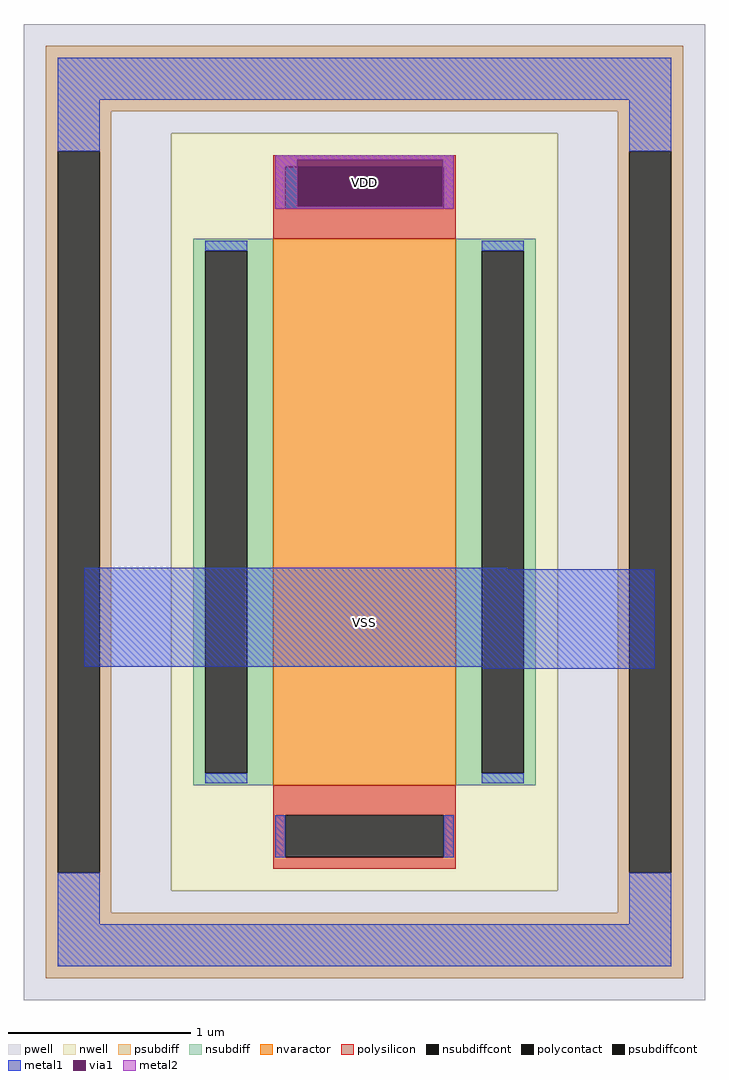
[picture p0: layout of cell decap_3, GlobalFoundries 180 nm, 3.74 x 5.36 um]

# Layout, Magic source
magic
tech gf180mcuD
magscale 1 10
<< nwell >>
rect 1251 813 1411 865
<< polysilicon >>
rect 1251 813 1411 865
<< metal1 >>
rect 1227 865 1423 870
rect 1227 813 1251 865
rect 1411 813 1423 865
rect 1227 811 1423 813
rect 1017 415 1482 417
rect 1017 308 1644 415
rect 1455 306 1644 308
<< via1 >>
rect 1251 813 1411 865
<< metal2 >>
rect 1227 865 1423 870
rect 1227 813 1251 865
rect 1411 813 1423 865
rect 1227 811 1423 813
use nmoscap_3p3_SJ3AWP  nmoscap_3p3_SJ3AWP_0
transform 1 0 1325 0 1 478
box -374 -536 374 536
<< labels >>
flabel metal2 1231 812 1418 867 0 FreeSans 320 0 0 0 VDD
port 1 nsew
flabel metal1 1231 321 1419 392 0 FreeSans 320 0 0 0 VSS
port 2 nsew
<< end >>

# cell nmoscap_3p3_SJ3AWP: kit device nmoscap_3p3, w 3.0 l 1.0 m 1 nf 1 diffcov 100 polycov 100 guard 1 glc 1 grc 1 gtc 0 gbc 0 tbcov 100 rlcov 100 topc 1 botc 1 poverlap 0 doverlap 1 lmin 0.28 wmin 0.22 class mosfet full_metal 1 compatible {nmoscap_3p3 nmoscap_6p0}
